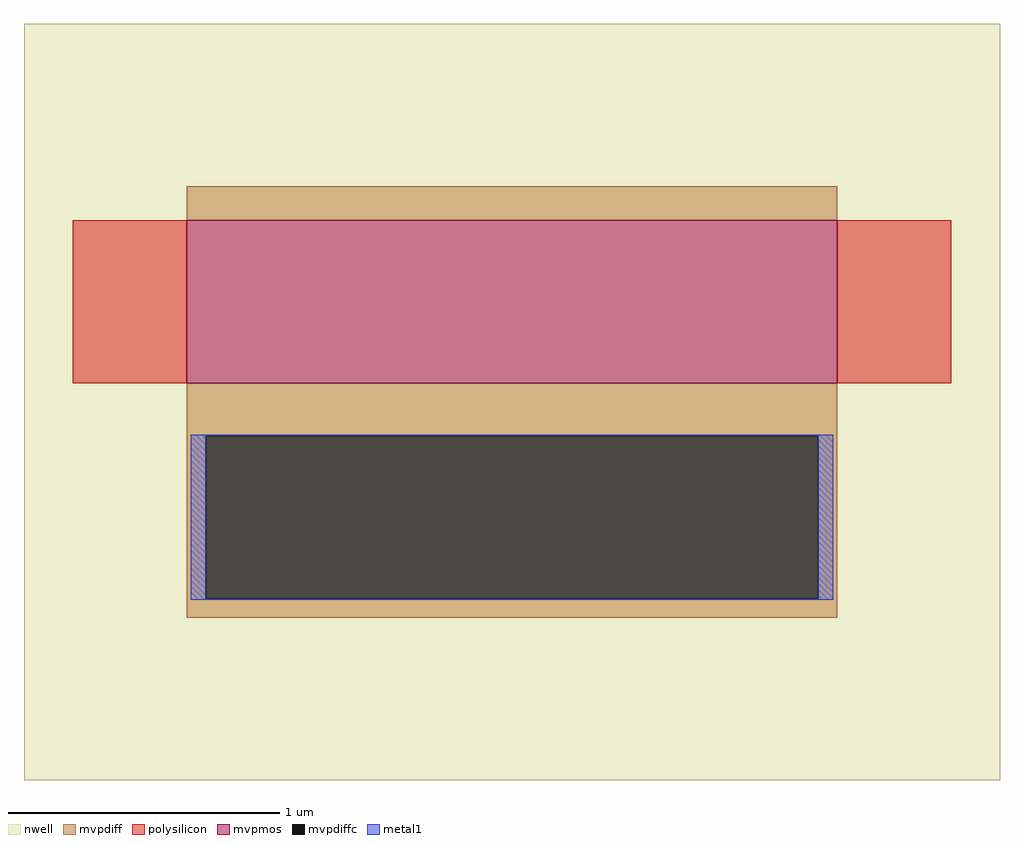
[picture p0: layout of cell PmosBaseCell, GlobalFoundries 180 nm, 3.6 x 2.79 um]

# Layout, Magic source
magic
tech gf180mcuD
magscale 1 10
<< nwell >>
rect -140 -333 580 225
<< mvpmos >>
rect -20 -40 460 80
<< mvpdiff >>
rect -20 80 460 105
rect -20 -79 460 -40
rect -20 -199 -6 -79
rect 446 -199 460 -79
rect -20 -213 460 -199
<< mvpdiffc >>
rect -6 -199 446 -79
<< polysilicon >>
rect -104 -40 -20 80
rect 460 -40 544 80
<< metal1 >>
rect -17 -79 457 -78
rect -17 -199 -6 -79
rect 446 -199 457 -79
rect -17 -200 457 -199
<< end >>
